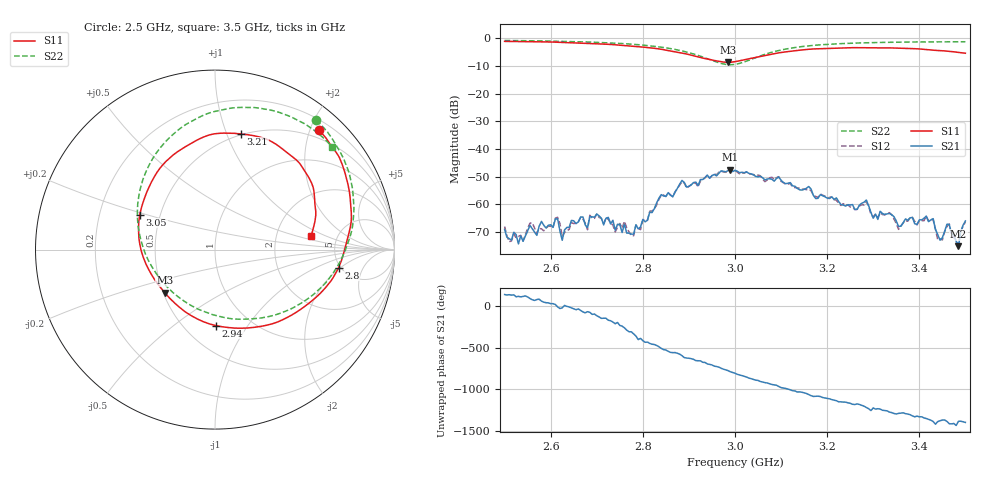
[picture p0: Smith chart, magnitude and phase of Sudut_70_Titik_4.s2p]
# Hz S RI R 50
! CMT, C1220, 16058040, 17.2.0/1
! Date: 15/08/2018 10:31:58
! Data: Format (Calibration Info)
! Freq  S11: Re/Im (F2)  S21: Re/Im (F2)  S12: Re/Im (F2)  S22: Re/Im (F2)
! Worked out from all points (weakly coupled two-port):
!   201 points, 2.5 GHz to 3.5 GHz, reference 50 ohm
!   highest |S21| = -47.43 dB at 2.99 GHz (marker M1); lowest = -75.1 dB at 3.485 GHz (marker M2)
!   lowest |S11| = -8.7 dB at 2.985 GHz (marker M3), VSWR 2.17, Z = 25.5 - j14.2 ohm
!   |S11| at or under -10 dB: nowhere
!   |S22| runs from -9.5 to -0.8 dB; largest |S21 - S12| = 0.00028
!   S11 on the Smith chart (normalised r, x): 2.5 GHz: 0.36, +2.15; 2.8 GHz: 4.81, -1.87; 2.94 GHz: 0.70, -0.72; 3.05 GHz: 0.38, +0.19; 3.21 GHz: 0.49, +1.12; 3.5 GHz: 3.18, +0.67
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2.5e9  0.5812 0.6643  -0.000278 0.000218  -0.000332 0.00022  0.5648 0.7221
2.54e9  0.6308 0.6029  -0.000105 0.000189  -0.000118 0.000181  0.6102 0.6742
2.615e9  0.7097 0.4718  0.00055 -6.44e-05  0.000582 -4.46e-05  0.6882 0.5607
2.625e9  0.719 0.4446  0.000213 -7.12e-05  0.000251 -7.66e-05  0.6979 0.5431
2.67e9  0.7467 0.3347  0.000225 -0.000546  0.00013 -0.000525  0.7382 0.4521
2.775e9  0.7234 0.00481  0.000172 0.000233  0.00018 0.000203  0.7696 0.1598
2.8e9  0.6882 -0.1005  0.000319 -0.000431  0.000324 -0.000401  0.7519 0.0708
2.835e9  0.6049 -0.2242  -0.000784 -0.00103  -0.000723 -0.00101  0.6984 -0.0634
2.94e9  0.00489 -0.4233  0.00303 0.0015  0.003 0.00155  0.1827 -0.3869
2.985e9  -0.2799 -0.24  0.00237 -0.00332  0.00252 -0.00328  -0.1695 -0.289
2.99e9  -0.3043 -0.2103  0.00158 -0.00395  0.00171 -0.00411  -0.2044 -0.264
3e9  -0.3499 -0.146  0.000299 -0.00412  8.77e-05 -0.0041  -0.2699 -0.2045
3.05e9  -0.4187 0.1953  -0.00312 -0.0004  -0.00337 -0.000301  -0.432 0.1752
3.17e9  -0.00923 0.644  0.00145 -0.000129  0.00147 1.63e-05  -0.0762 0.7431
3.21e9  0.1437 0.6445  0.000991 -0.000939  0.000916 -0.001  0.0696 0.7845
3.335e9  0.4694 0.4829  -0.000665 0.00016  -0.000689 0.000163  0.4024 0.7481
3.355e9  0.5 0.4383  -0.000347 0.000196  -0.000313 0.000165  0.4406 0.7313
3.43e9  0.5567 0.2525  0.000332 0.000441  0.000324 0.000414  0.5645 0.6555
3.44e9  0.5596 0.2271  0.000177 0.000223  0.000129 0.000191  0.5793 0.6428
3.465e9  0.5584 0.1676  0.000391 0.000191  0.00038 0.000223  0.6112 0.616
3.485e9  0.5467 0.1146  9.86e-05 0.000145  0.000102 0.000164  0.6347 0.5913
3.5e9  0.5335 0.0746  0.000373 0.000335  0.000369 0.000303  0.6518 0.5742
